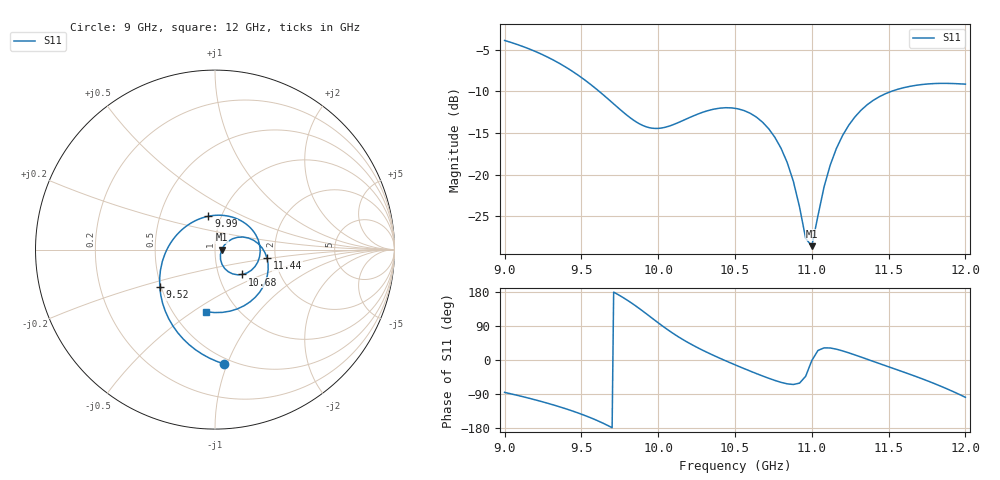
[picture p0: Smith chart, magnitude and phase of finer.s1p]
! yapnr rf: antenna-x10, footprint re-simulated (refine 3)
! spec sha256 6d76e102596c44698a476305de89e6432791258e8245bcfd53b0e58c02666d0d
! 1 ports renormalized to 50 ohm, e^(+jwt) convention
# GHz S RI R 50
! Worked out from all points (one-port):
!   126 points, 9 GHz to 12 GHz, reference 50 ohm
!   lowest |S11| = -28.6 dB at 11 GHz (marker M1), VSWR 1.08, Z = 53.9 - j0.104 ohm
!   |S11| at or under -10 dB: 9.615 GHz to 11.52 GHz (1.903 GHz wide, 18 % of centre)
!   S11 on the Smith chart (normalised r, x): 9 GHz: 0.45, -0.97; 9.52 GHz: 0.49, -0.24; 9.99 GHz: 0.87, +0.33; 10.68 GHz: 1.30, -0.38; 11.44 GHz: 1.80, -0.19; 12 GHz: 0.72, -0.56
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9  0.0504 -0.637
9.2  -0.1441 -0.5297
9.4  -0.277 -0.343
9.52  -0.3078 -0.2074
9.64  -0.2944 -0.0701
9.75  -0.2431 0.0431
9.88  -0.1423 0.1425
9.99  -0.0368 0.1858
10.13  0.0977 0.1805
10.25  0.1904 0.1279
10.35  0.2384 0.0598
10.52  0.2386 -0.0687
10.68  0.1527 -0.1386
10.8  0.074 -0.1233
10.84  0.0538 -0.1052
10.88  0.039 -0.0823
10.92  0.031 -0.0561
10.96  0.0303 -0.0283
11  0.0372 -0.000961
11.08  0.0716 0.0448
11.12  0.0971 0.06
11.2  0.1565 0.07
11.28  0.2155 0.0517
11.44  0.2898 -0.0478
11.52  0.2961 -0.1122
11.64  0.2673 -0.2085
11.84  0.1252 -0.3301
12  -0.0512 -0.3455
